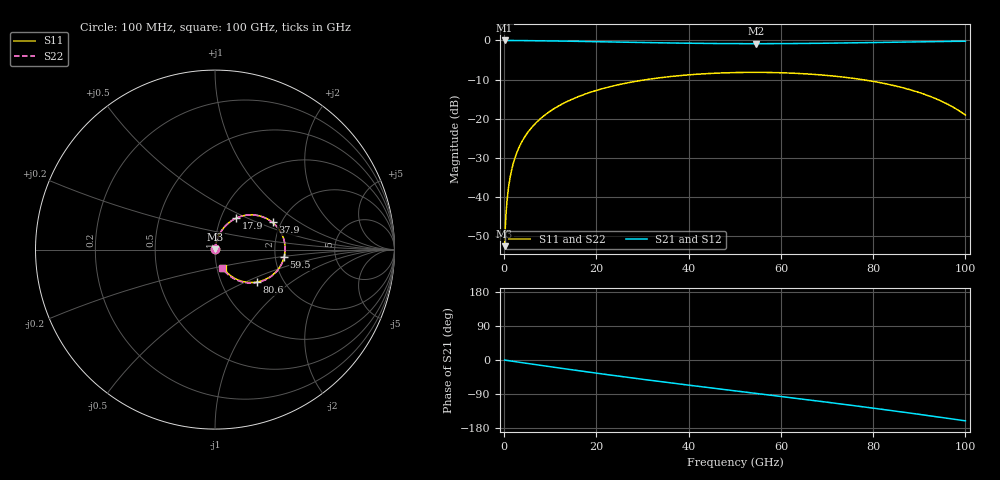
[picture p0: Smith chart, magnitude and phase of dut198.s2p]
! Touchstone file exported from HFSS 2026.1.0
!  File:  C:/ffzhzh/LocalFiles/Ansys_Project_Files/temp_train_RDL_198_1783500679_44152.aedt
!  Generated:  04:52:35 PM Jul  8, 2026
!  Design:  RDL
!  Project:  temp_train_RDL_198_1783500679_44152
! Variables:
!  h_bsmrdl = 2um
!  h_ox = 20um
!  h_rdl = 5um
!  h_sub = 80um
!  h_tmrdl = 4.98um
!  h_tsv = 80um
!  h_via = 3um
!  l_bsmrdl = 300um
!  l_sub = 951.23um
!  l_tmrdl = 551.23um
!  m_sub = 200um
!  pitch = 43.06um
!  r_tsv = 6um
!  s_tmrdl = 10um
!  w_bsmrdl = 18um
!  w_sub = 500um
!  w_tmrdl = 25.48um
!  x_tsv_center1 = 563.97um
!  x_tsv_center2 = 881.97um
!  x_tsv_center3 = 1458.68um
!  x_tsv_center4 = 1776.68um
!  x_tsv_center5 = 2353.39um
!  x_tsv_center6 = 2671.39um
# GHz S MA R 50.000000
! Terminal data exported
! Port[1] = TM_RDL1_1_T1
! Port[2] = TM_RDL1_1_T2
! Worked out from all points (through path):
!   1000 points, 100 MHz to 100 GHz, reference 50 ohm
!   highest |S21| = -0.02 dB at 100 MHz (marker M1); lowest = -0.8 dB at 54.6 GHz (marker M2)
!   group delay of S21, straight-line fit = 4.34 ps
!   lowest |S11| = -52.5 dB at 100 MHz (marker M3), VSWR 1.00, Z = 50.2 + j0.159 ohm
!   |S11| at or under -10 dB: start of sweep to 30.88 GHz; 77.6 GHz to end of sweep
!   |S22| runs from -52.5 to -8.2 dB; largest |S21 - S12| = 1.8e-14
!   S11 on the Smith chart (normalised r, x): 100 MHz: 1.00, +0.00; 17.9 GHz: 1.18, +0.43; 37.9 GHz: 1.80, +0.63; 59.5 GHz: 2.24, -0.22; 80.6 GHz: 1.47, -0.58; 100 GHz: 1.07, -0.22
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0.1  0.002365 42.0  0.9982 -0.2  0.9982 -0.2  0.002365 42.0
! Gamma 0 0 0 0
! Port Impedance 50 0 50 0
0.9  0.01259 77.6  0.9976 -1.7  0.9976 -1.7  0.01259 77.6
1.2  0.01658 79.2  0.9974 -2.2  0.9974 -2.2  0.01658 79.2
1.5  0.02057 79.9  0.9972 -2.7  0.9972 -2.7  0.02057 79.9
2.5  0.03373 79.9  0.9962 -4.6  0.9962 -4.6  0.03374 79.9
4  0.05295 78.1  0.9943 -7.2  0.9943 -7.2  0.05296 78.1
6.2  0.08014 74.9  0.9912 -11.1  0.9912 -11.1  0.08014 74.8
9  0.1135 70.5  0.9866 -16.0  0.9866 -16.0  0.1135 70.5
12.5  0.1533 65.0  0.98 -22.1  0.98 -22.1  0.1533 64.9
16.8  0.1989 58.1  0.9708 -29.4  0.9708 -29.4  0.1989 58.0
17.9  0.2099 56.3  0.9683 -31.2  0.9683 -31.2  0.2099 56.2
25  0.2736 45.1  0.9513 -42.9  0.9513 -42.9  0.2736 44.9
33.4  0.3316 32.1  0.9321 -56.2  0.9321 -56.2  0.3316 31.9
37.9  0.3545 25.4  0.9234 -63.2  0.9234 -63.2  0.3546 25.1
50.1  0.3886 7.4  0.9093 -81.5  0.9093 -81.5  0.3887 7.1
54.6  0.391 0.9  0.9082 -88.2  0.9082 -88.2  0.3911 0.5
59.5  0.3873 -6.2  0.9095 -95.5  0.9095 -95.5  0.3874 -6.6
66.7  0.37 -16.7  0.9161 -106.3  0.9161 -106.3  0.37 -17.3
80.6  0.2957 -37.6  0.9406 -128.0  0.9406 -128.0  0.2957 -38.5
83.4  0.2742 -42.0  0.9466 -132.5  0.9466 -132.5  0.2743 -42.8
92.7  0.1893 -56.2  0.9653 -148.0  0.9653 -148.0  0.1893 -57.6
100  0.1114 -66.4  0.9753 -160.5  0.9753 -160.5  0.1112 -68.7
